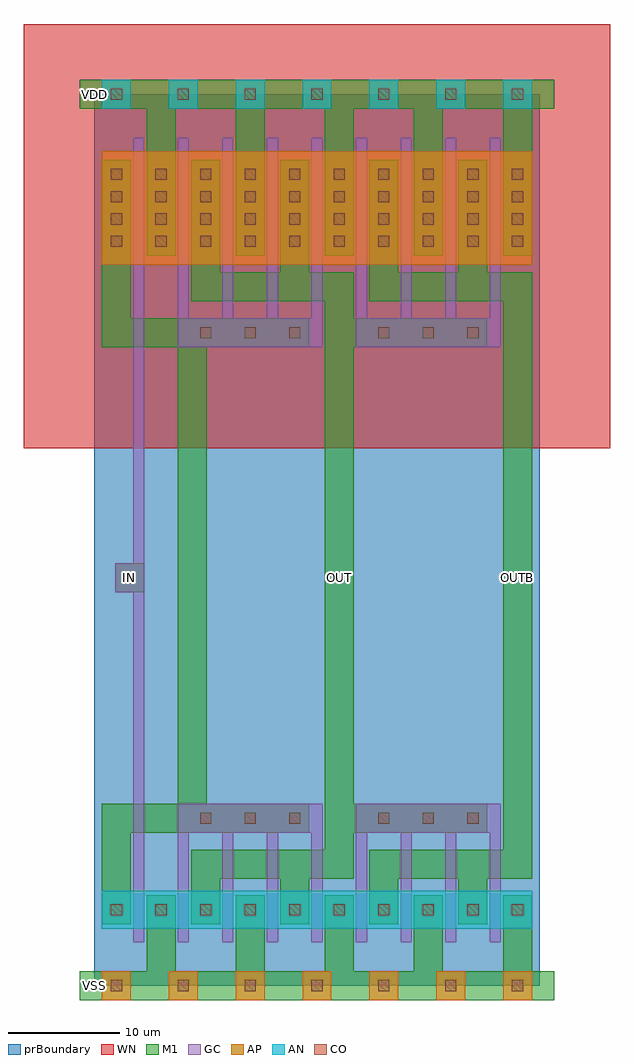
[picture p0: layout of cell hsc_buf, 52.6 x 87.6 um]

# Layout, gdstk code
import gdstk
lib = gdstk.Library(unit=1e-6, precision=1e-07)
def R(c, l, rs):  # rectangles x0, y0, x1, y1
    for r in rs: c.add(gdstk.rectangle(r[:2], r[2:], *l))
def A(c, l, x, y, w, h, nx, ny, dx, dy):  # array of equal rectangles
    R(c, l, [(x+i*dx, y+j*dy, x+i*dx+w, y+j*dy+h) for i in range(nx) for j in range(ny)])
def P(c, l, *ps):  # polygons
    for p in ps: c.add(gdstk.Polygon(p, *l))
AP = (3, 1)
AN = (3, 2)
GC = (8, 1)
CO = (11, 0)
M1 = (13, 0)
WN = (140, 0)
prBoundary = (235, 0)

fet_n_1 = lib.new_cell('fet_n$1')
R(fet_n_1, AN, [(-19.3,-1.7,19.3,1.7)])
A(fet_n_1, CO, -18.5, -0.5, 1, 1, 10, 1, 4, 0)
A(fet_n_1, M1, -19.3, -1.3, 2.6, 2.6, 10, 1, 4, 0)
fet_n_1.add(gdstk.FlexPath([(0,-2.9),(0,2.9)], 1, ends="flush", simple_path=True, layer=8, datatype=1))  # GC
fet_n_1.add(gdstk.FlexPath([(-4,-2.9),(-4,2.9)], 1, ends="flush", simple_path=True, layer=8, datatype=1))  # GC
fet_n_1.add(gdstk.FlexPath([(4,-2.9),(4,2.9)], 1, ends="flush", simple_path=True, layer=8, datatype=1))  # GC
fet_n_1.add(gdstk.FlexPath([(-8,-2.9),(-8,2.9)], 1, ends="flush", simple_path=True, layer=8, datatype=1))  # GC
fet_n_1.add(gdstk.FlexPath([(8,-2.9),(8,2.9)], 1, ends="flush", simple_path=True, layer=8, datatype=1))  # GC
fet_n_1.add(gdstk.FlexPath([(-12,-2.9),(-12,2.9)], 1, ends="flush", simple_path=True, layer=8, datatype=1))  # GC
fet_n_1.add(gdstk.FlexPath([(12,-2.9),(12,2.9)], 1, ends="flush", simple_path=True, layer=8, datatype=1))  # GC
fet_n_1.add(gdstk.FlexPath([(-16,-2.9),(-16,2.9)], 1, ends="flush", simple_path=True, layer=8, datatype=1))  # GC
fet_n_1.add(gdstk.FlexPath([(16,-2.9),(16,2.9)], 1, ends="flush", simple_path=True, layer=8, datatype=1))  # GC

fet_p_1 = lib.new_cell('fet_p$1')
R(fet_p_1, AP, [(-19.3,-5.1,19.3,5.1)])
A(fet_p_1, CO, -18.5, -3.5, 1, 1, 10, 4, 4, 2)
A(fet_p_1, M1, -19.3, -4.3, 2.6, 8.6, 10, 1, 4, 0)
fet_p_1.add(gdstk.FlexPath([(0,-6.3),(0,6.3)], 1, ends="flush", simple_path=True, layer=8, datatype=1))  # GC
fet_p_1.add(gdstk.FlexPath([(-4,-6.3),(-4,6.3)], 1, ends="flush", simple_path=True, layer=8, datatype=1))  # GC
fet_p_1.add(gdstk.FlexPath([(4,-6.3),(4,6.3)], 1, ends="flush", simple_path=True, layer=8, datatype=1))  # GC
fet_p_1.add(gdstk.FlexPath([(-8,-6.3),(-8,6.3)], 1, ends="flush", simple_path=True, layer=8, datatype=1))  # GC
fet_p_1.add(gdstk.FlexPath([(8,-6.3),(8,6.3)], 1, ends="flush", simple_path=True, layer=8, datatype=1))  # GC
fet_p_1.add(gdstk.FlexPath([(-12,-6.3),(-12,6.3)], 1, ends="flush", simple_path=True, layer=8, datatype=1))  # GC
fet_p_1.add(gdstk.FlexPath([(12,-6.3),(12,6.3)], 1, ends="flush", simple_path=True, layer=8, datatype=1))  # GC
fet_p_1.add(gdstk.FlexPath([(-16,-6.3),(-16,6.3)], 1, ends="flush", simple_path=True, layer=8, datatype=1))  # GC
fet_p_1.add(gdstk.FlexPath([(16,-6.3),(16,6.3)], 1, ends="flush", simple_path=True, layer=8, datatype=1))  # GC

cont_g = lib.new_cell('cont_g')
R(cont_g, GC, [(-1.3,-1.3,1.3,1.3)])
R(cont_g, CO, [(-0.5,-0.5,0.5,0.5)])
R(cont_g, M1, [(-1.3,-1.3,1.3,1.3)])

cont_p = lib.new_cell('cont_p')
R(cont_p, AP, [(-1.3,-1.3,1.3,1.3)])
R(cont_p, CO, [(-0.5,-0.5,0.5,0.5)])
R(cont_p, M1, [(-1.3,-1.3,1.3,1.3)])

cont_n = lib.new_cell('cont_n')
R(cont_n, AN, [(-1.3,-1.3,1.3,1.3)])
R(cont_n, CO, [(-0.5,-0.5,0.5,0.5)])
R(cont_n, M1, [(-1.3,-1.3,1.3,1.3)])

hsc_buf = lib.new_cell('hsc_buf')
R(hsc_buf, GC, [(3.5,9.7,4.5,63.5)])
P(hsc_buf, GC, [(7.5,57.3),(7.5,63.5),(8.5,63.5),(8.5,59.9),(11.5,59.9),(11.5,63.5),(12.5,63.5),(12.5,59.9),(15.5,59.9),(15.5,63.5),(16.5,63.5),(16.5,59.9),(19.5,59.9),(19.5,63.5),(20.5,63.5),(20.5,57.3)],
  [(23.5,57.3),(23.5,63.5),(24.5,63.5),(24.5,59.9),(27.5,59.9),(27.5,63.5),(28.5,63.5),(28.5,59.9),(31.5,59.9),(31.5,63.5),(32.5,63.5),(32.5,59.9),(35.5,59.9),(35.5,63.5),(36.5,63.5),(36.5,57.3)],
  [(7.5,9.7),(7.5,16.3),(20.5,16.3),(20.5,9.7),(19.5,9.7),(19.5,13.7),(16.5,13.7),(16.5,9.7),(15.5,9.7),(15.5,13.7),(12.5,13.7),(12.5,9.7),(11.5,9.7),(11.5,13.7),(8.5,13.7),(8.5,9.7)],
  [(23.5,9.7),(23.5,16.3),(36.5,16.3),(36.5,9.7),(35.5,9.7),(35.5,13.7),(32.5,13.7),(32.5,9.7),(31.5,9.7),(31.5,13.7),(28.5,13.7),(28.5,9.7),(27.5,9.7),(27.5,13.7),(24.5,13.7),(24.5,9.7)])
A(hsc_buf, M1, 4.7, 1.3, 2.6, 4.2, 5, 1, 8, 0)
A(hsc_buf, M1, 4.7, 74.1, 2.6, 4.6, 5, 1, 8, 0)
R(hsc_buf, M1, [(-1.3,-1.3,41.3,1.3), (-1.3,78.7,41.3,81.3)])
P(hsc_buf, M1, [(8.7,8.1),(8.7,12.2),(20.7,12.2),(20.7,61.4),(8.7,61.4),(8.7,65.5),(11.3,65.5),(11.3,64),(16.7,64),(16.7,65.5),(19.3,65.5),(19.3,64),(23.3,64),(23.3,59.9),(35.3,59.9),(35.3,57.3),(23.3,57.3),(23.3,16.3),(35.3,16.3),(35.3,13.7),(23.3,13.7),(23.3,9.6),(19.3,9.6),(19.3,8.1),(16.7,8.1),(16.7,9.6),(11.3,9.6),(11.3,8.1)],
  [(0.7,8.1),(0.7,16.3),(7.5,16.3),(7.5,57.3),(0.7,57.3),(0.7,65.5),(3.3,65.5),(3.3,59.9),(19.3,59.9),(19.3,57.3),(10.1,57.3),(10.1,16.3),(19.3,16.3),(19.3,13.7),(3.3,13.7),(3.3,8.1)],
  [(24.7,8.1),(24.7,12.2),(36.7,12.2),(36.7,61.4),(24.7,61.4),(24.7,65.5),(27.3,65.5),(27.3,64),(32.7,64),(32.7,65.5),(35.3,65.5),(35.3,64),(39.3,64),(39.3,9.6),(35.3,9.6),(35.3,8.1),(32.7,8.1),(32.7,9.6),(27.3,9.6),(27.3,8.1)])
R(hsc_buf, WN, [(-6.3,48.2,46.3,86.3)])
R(hsc_buf, prBoundary, [(0,0,40,80)])
hsc_buf.add(gdstk.Reference(fet_n_1, (20,6.8)))
hsc_buf.add(gdstk.Reference(fet_p_1, (20,69.8)))
hsc_buf.add(gdstk.Reference(cont_g, (3.2,36.6)))
r = gdstk.Reference(cont_g, (10,58.6)); r.repetition = gdstk.Repetition(3, 1, v1=(4,0), v2=(0,0)); hsc_buf.add(r)
r = gdstk.Reference(cont_g, (10,15)); r.repetition = gdstk.Repetition(3, 1, v1=(4,0), v2=(0,0)); hsc_buf.add(r)
r = gdstk.Reference(cont_p, (2,0)); r.repetition = gdstk.Repetition(7, 1, v1=(6,0), v2=(0,0)); hsc_buf.add(r)
r = gdstk.Reference(cont_n, (2,80)); r.repetition = gdstk.Repetition(7, 1, v1=(6,0), v2=(0,0)); hsc_buf.add(r)
r = gdstk.Reference(cont_g, (26,58.6)); r.repetition = gdstk.Repetition(3, 1, v1=(4,0), v2=(0,0)); hsc_buf.add(r)
r = gdstk.Reference(cont_g, (26,15)); r.repetition = gdstk.Repetition(3, 1, v1=(4,0), v2=(0,0)); hsc_buf.add(r)
hsc_buf.add(gdstk.Label('IN', (3.2,36.6), layer=48, texttype=0))
hsc_buf.add(gdstk.Label('OUT', (22,36.6), layer=48, texttype=0))
hsc_buf.add(gdstk.Label('VSS', (0,0), layer=48, texttype=0))
hsc_buf.add(gdstk.Label('VDD', (0,80), layer=48, texttype=0))
hsc_buf.add(gdstk.Label('OUTB', (38,36.6), layer=48, texttype=0))

lib.write_gds('hsc_buf.gds')
